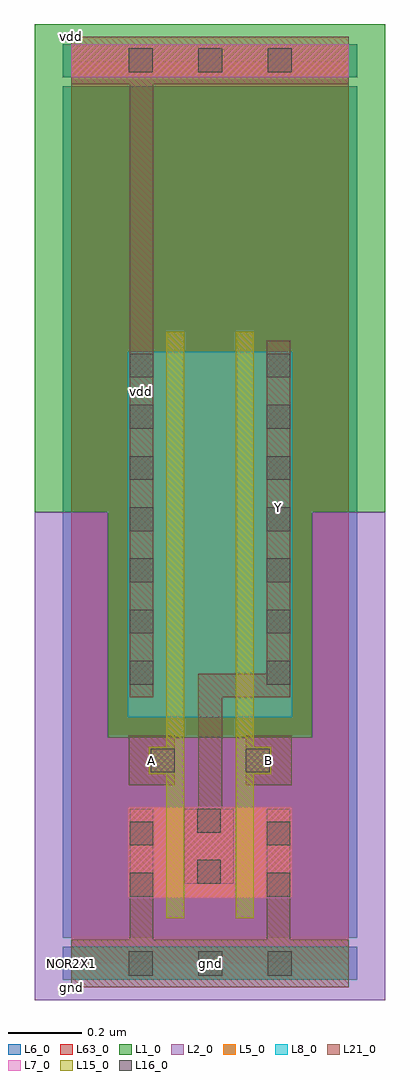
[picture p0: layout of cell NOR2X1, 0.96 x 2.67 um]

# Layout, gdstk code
import gdstk
lib = gdstk.Library(unit=1e-6, precision=1e-09)
def R(c, l, rs):  # rectangles x0, y0, x1, y1
    for r in rs: c.add(gdstk.rectangle(r[:2], r[2:], *l))
def A(c, l, x, y, w, h, nx, ny, dx, dy):  # array of equal rectangles
    R(c, l, [(x+i*dx, y+j*dy, x+i*dx+w, y+j*dy+h) for i in range(nx) for j in range(ny)])
def P(c, l, *ps):  # polygons
    for p in ps: c.add(gdstk.Polygon(p, *l))
L1_0 = (1, 0)
L2_0 = (2, 0)
L5_0 = (5, 0)
L6_0 = (6, 0)
L7_0 = (7, 0)
L8_0 = (8, 0)
L15_0 = (15, 0)
L16_0 = (16, 0)
L21_0 = (21, 0)
L63_0 = (63, 0)

nor2x1 = lib.new_cell('NOR2X1')
P(nor2x1, L1_0, [(0.86,1.235),(0.66,1.235),(0.66,0.618),(0.1,0.618),(0.1,1.235),(-0.1,1.235),(-0.1,2.57),(0.86,2.57)])
P(nor2x1, L2_0, [(-0.1,1.235),(0.1,1.235),(0.1,0.618),(0.66,0.618),(0.66,1.235),(0.86,1.235),(0.86,-0.1),(-0.1,-0.1)])
R(nor2x1, L5_0, [(0,-0.045,0.76,0.045), (0.155,0.178,0.26,0.428), (0.26,0.178,0.31,0.428), (0.31,0.178,0.45,0.428), (0.45,0.178,0.5,0.428), (0.5,0.178,0.605,0.428), (0.155,0.673,0.26,1.673), (0.26,0.673,0.31,1.673), (0.31,0.673,0.45,1.673), (0.45,0.673,0.5,1.673), (0.5,0.673,0.605,1.673), (0,2.425,0.76,2.515)])
R(nor2x1, L6_0, [(-0.023,-0.045,0.783,0.045), (-0.023,-0.045,0.783,0.045), (-0.023,2.425,0.783,2.515), (-0.023,2.425,0.783,2.515)])
P(nor2x1, L6_0, [(0.1,1.235),(0.1,0.618),(0.66,0.618),(0.66,1.235),(0.783,1.235),(0.783,0.07),(-0.023,0.07),(-0.023,1.235)],
  [(-0.023,1.235),(-0.023,2.4),(0.783,2.4),(0.783,1.235),(0.66,1.235),(0.66,0.618),(0.1,0.618),(0.1,1.235)])
R(nor2x1, L7_0, [(0.155,0.178,0.26,0.428), (0.26,0.178,0.31,0.428), (0.31,0.178,0.45,0.428), (0.45,0.178,0.5,0.428), (0.5,0.178,0.605,0.428), (0,2.425,0.76,2.515)])
R(nor2x1, L8_0, [(0,-0.045,0.76,0.045), (0.155,0.673,0.26,1.673), (0.26,0.673,0.31,1.673), (0.31,0.673,0.45,1.673), (0.45,0.673,0.5,1.673), (0.5,0.673,0.605,1.673)])
R(nor2x1, L15_0, [(0.26,0.123,0.31,0.178), (0.45,0.123,0.5,0.178), (0.26,0.178,0.31,0.428), (0.45,0.178,0.5,0.428), (0.26,0.673,0.31,1.673), (0.45,0.673,0.5,1.673), (0.26,1.673,0.31,1.728), (0.45,1.673,0.5,1.728)])
P(nor2x1, L15_0, [(0.26,0.518),(0.213,0.518),(0.213,0.593),(0.26,0.593),(0.26,0.673),(0.31,0.673),(0.31,0.428),(0.26,0.428)],
  [(0.45,0.673),(0.5,0.673),(0.5,0.593),(0.548,0.593),(0.548,0.518),(0.5,0.518),(0.5,0.428),(0.45,0.428)])
A(nor2x1, L16_0, 0.158, -0.033, 0.065, 0.066, 3, 1, 0.19, 0)
A(nor2x1, L16_0, 0.16, 0.763, 0.065, 0.065, 1, 7, 0, 0.14)
A(nor2x1, L16_0, 0.535, 0.763, 0.065, 0.065, 1, 7, 0, 0.14)
A(nor2x1, L16_0, 0.158, 2.438, 0.065, 0.065, 3, 1, 0.19, 0)
R(nor2x1, L16_0, [(0.16,0.183,0.225,0.248), (0.535,0.183,0.6,0.248), (0.345,0.218,0.41,0.283), (0.16,0.323,0.225,0.388), (0.535,0.323,0.6,0.388), (0.345,0.358,0.41,0.423), (0.218,0.523,0.283,0.588), (0.478,0.523,0.543,0.588)])
R(nor2x1, L21_0, [(0.158,0.488,0.283,0.623), (0.478,0.488,0.603,0.623)])
P(nor2x1, L21_0, [(0,2.405),(0,2.535),(0.76,2.535),(0.76,2.405),(0.225,2.405),(0.225,0.728),(0.16,0.728),(0.16,2.405)],
  [(0,-0.065),(0,0.065),(0.16,0.065),(0.16,0.423),(0.225,0.423),(0.225,0.065),(0.535,0.065),(0.535,0.423),(0.6,0.423),(0.6,0.065),(0.76,0.065),(0.76,-0.065)],
  [(0.348,0.793),(0.535,0.793),(0.535,1.703),(0.6,1.703),(0.6,0.728),(0.413,0.728),(0.413,0.423),(0.445,0.423),(0.445,0.218),(0.31,0.218),(0.31,0.423),(0.348,0.423)])
R(nor2x1, L63_0, [(0,0,0.76,2.47)])
nor2x1.add(gdstk.Label('vdd', (0.193,1.566), layer=21, texttype=1))
nor2x1.add(gdstk.Label('gnd', (0.38,0), layer=21, texttype=1))
nor2x1.add(gdstk.Label('A', (0.22,0.555), layer=21, texttype=1))
nor2x1.add(gdstk.Label('B', (0.54,0.555), layer=21, texttype=1))
nor2x1.add(gdstk.Label('Y', (0.568,1.248), layer=21, texttype=1))
nor2x1.add(gdstk.Label('vdd', (0,2.535), layer=21, texttype=2))
nor2x1.add(gdstk.Label('gnd', (0,-0.065), layer=21, texttype=2))
nor2x1.add(gdstk.Label('NOR2X1', (0,0), layer=63, texttype=1))

lib.write_gds('NOR2X1.gds')
